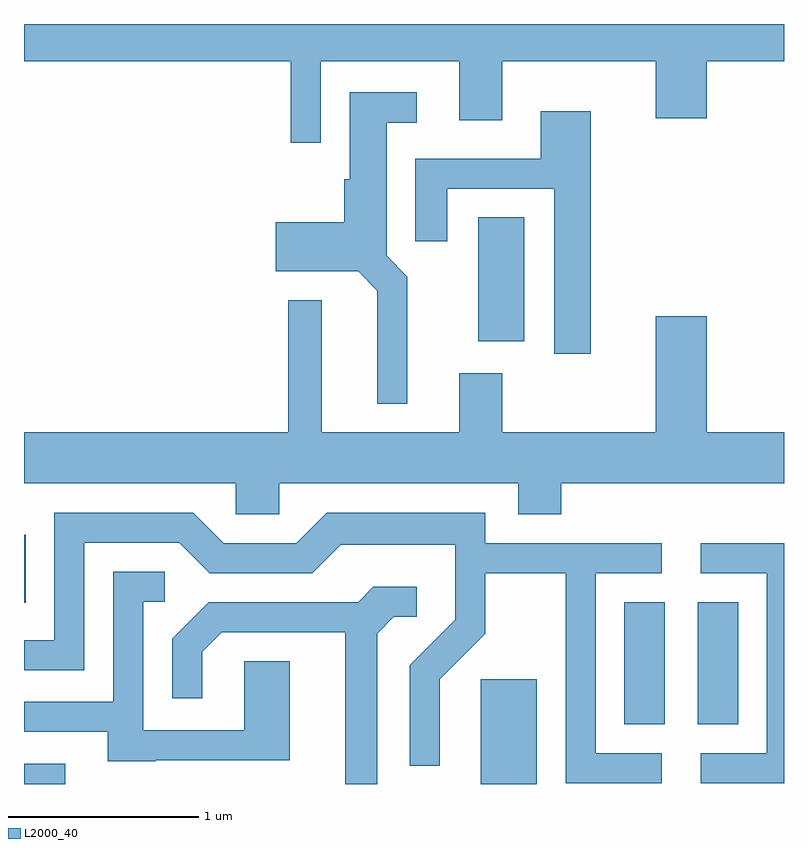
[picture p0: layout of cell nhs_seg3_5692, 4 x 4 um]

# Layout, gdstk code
import gdstk
lib = gdstk.Library(unit=1e-6, precision=1e-09)
def R(c, l, rs):  # rectangles x0, y0, x1, y1
    for r in rs: c.add(gdstk.rectangle(r[:2], r[2:], *l))
def P(c, l, *ps):  # polygons
    for p in ps: c.add(gdstk.Polygon(p, *l))
L2000_40 = (2000, 40)

nhs_seg3_5692 = lib.new_cell('nhs_seg3_5692')
R(nhs_seg3_5692, L2000_40, [(351.611,1219.892,351.829,1219.999), (354.016,1219.892,354.309,1220.444), (354.771,1220.206,354.984,1220.849), (355.156,1220.206,355.369,1220.849), (351.611,1220.846,351.619,1221.203), (354.001,1222.221,354.244,1222.874)])
P(nhs_seg3_5692, L2000_40, [(353.174,1223.696),(353.901,1223.696),(353.901,1223.386),(354.129,1223.386),(354.129,1223.696),(354.936,1223.696),(354.936,1223.396),(355.204,1223.396),(355.204,1223.696),(355.611,1223.696),(355.611,1223.892),(351.611,1223.892),(351.611,1223.696),(353.016,1223.696),(353.016,1223.268),(353.174,1223.268)],
  [(353.629,1222.562),(353.519,1222.672),(353.519,1223.371),(353.678,1223.371),(353.678,1223.534),(353.326,1223.534),(353.326,1223.074),(353.296,1223.074),(353.296,1222.849),(352.936,1222.849),(352.936,1222.591),(353.369,1222.591),(353.471,1222.489),(353.471,1221.893),(353.629,1221.893)],
  [(354.594,1223.434),(354.331,1223.434),(354.331,1223.184),(353.671,1223.184),(353.671,1222.748),(353.839,1222.748),(353.839,1223.026),(354.401,1223.026),(354.401,1222.156),(354.594,1222.156)],
  [(351.611,1221.476),(352.726,1221.476),(352.726,1221.311),(352.954,1221.311),(352.954,1221.476),(354.211,1221.476),(354.211,1221.311),(354.439,1221.311),(354.439,1221.476),(355.611,1221.476),(355.611,1221.744),(355.204,1221.744),(355.204,1222.354),(354.936,1222.354),(354.936,1221.744),(354.129,1221.744),(354.129,1222.054),(353.901,1222.054),(353.901,1221.744),(353.179,1221.744),(353.179,1222.439),(353.001,1222.439),(353.001,1221.744),(351.611,1221.744)],
  [(354.968,1220.054),(354.619,1220.054),(354.619,1221.001),(354.968,1221.001),(354.968,1221.159),(354.039,1221.159),(354.039,1221.319),(353.204,1221.319),(353.044,1221.159),(352.662,1221.159),(352.502,1221.319),(351.771,1221.319),(351.771,1220.649),(351.611,1220.649),(351.611,1220.491),(351.929,1220.491),(351.929,1221.161),(352.429,1221.161),(352.589,1221.001),(353.127,1221.001),(353.277,1221.151),(353.881,1221.151),(353.881,1220.757),(353.641,1220.517),(353.641,1219.988),(353.799,1219.988),(353.799,1220.444),(354.039,1220.684),(354.039,1221.001),(354.461,1221.001),(354.461,1219.896),(354.968,1219.896)],
  [(355.611,1221.159),(355.173,1221.159),(355.173,1221.001),(355.521,1221.001),(355.521,1220.054),(355.173,1220.054),(355.173,1219.896),(355.611,1219.896)],
  [(352.305,1220.016),(353.009,1220.016),(353.009,1220.539),(352.771,1220.539),(352.771,1220.174),(352.239,1220.174),(352.239,1220.851),(352.353,1220.851),(352.353,1221.009),(352.081,1221.009),(352.081,1220.324),(351.611,1220.324),(351.611,1220.166),(352.051,1220.166),(352.051,1220.011),(352.305,1220.011)],
  [(353.469,1220.684),(353.557,1220.771),(353.678,1220.771),(353.678,1220.929),(353.449,1220.929),(353.369,1220.849),(352.584,1220.849),(352.391,1220.657),(352.391,1220.343),(352.549,1220.343),(352.549,1220.589),(352.652,1220.691),(353.301,1220.691),(353.301,1219.892),(353.469,1219.892)])

lib.write_gds('nhs_seg3_5692.gds')
